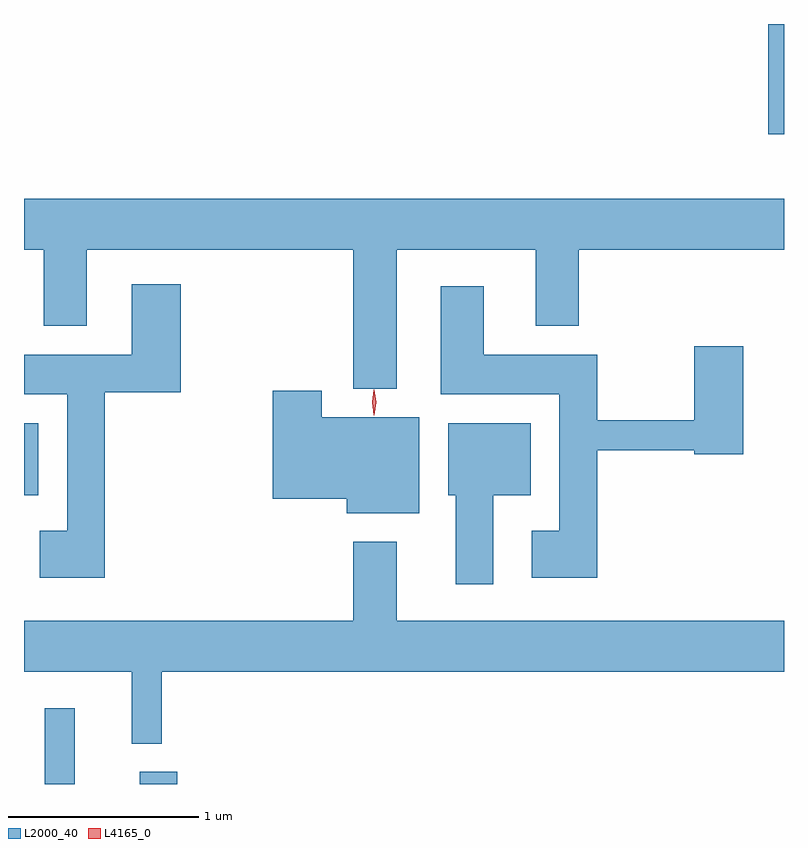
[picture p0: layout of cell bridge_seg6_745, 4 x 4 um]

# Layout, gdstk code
import gdstk
lib = gdstk.Library(unit=1e-6, precision=1e-09)
def R(c, l, rs):  # rectangles x0, y0, x1, y1
    for r in rs: c.add(gdstk.rectangle(r[:2], r[2:], *l))
def P(c, l, *ps):  # polygons
    for p in ps: c.add(gdstk.Polygon(p, *l))
L2000_40 = (2000, 40)
L4165_0 = (4165, 0)

bridge_seg6_745 = lib.new_cell('bridge_seg6_745')
R(bridge_seg6_745, L2000_40, [(481.206,1591.625,481.364,1592.023), (481.706,1591.625,481.904,1591.689), (481.098,1593.146,481.174,1593.524), (485.016,1595.046,485.098,1595.625)])
P(bridge_seg6_745, L2000_40, [(483.059,1594.436),(483.791,1594.436),(483.791,1594.036),(484.019,1594.036),(484.019,1594.436),(485.098,1594.436),(485.098,1594.704),(481.098,1594.704),(481.098,1594.436),(481.201,1594.436),(481.201,1594.036),(481.429,1594.036),(481.429,1594.436),(482.831,1594.436),(482.831,1593.706),(483.059,1593.706)],
  [(481.524,1593.686),(481.924,1593.686),(481.924,1594.254),(481.666,1594.254),(481.666,1593.884),(481.098,1593.884),(481.098,1593.676),(481.326,1593.676),(481.326,1592.959),(481.181,1592.959),(481.181,1592.711),(481.524,1592.711)],
  [(484.114,1593.381),(484.626,1593.381),(484.626,1593.361),(484.884,1593.361),(484.884,1593.929),(484.626,1593.929),(484.626,1593.539),(484.114,1593.539),(484.114,1593.884),(483.519,1593.884),(483.519,1594.244),(483.291,1594.244),(483.291,1593.676),(483.916,1593.676),(483.916,1592.959),(483.771,1592.959),(483.771,1592.711),(484.114,1592.711)],
  [(483.179,1593.554),(482.664,1593.554),(482.664,1593.694),(482.406,1593.694),(482.406,1593.126),(482.796,1593.126),(482.796,1593.051),(483.179,1593.051)],
  [(483.569,1593.146),(483.764,1593.146),(483.764,1593.524),(483.331,1593.524),(483.331,1593.146),(483.371,1593.146),(483.371,1592.676),(483.569,1592.676)],
  [(481.824,1592.216),(485.098,1592.216),(485.098,1592.484),(483.059,1592.484),(483.059,1592.899),(482.831,1592.899),(482.831,1592.484),(481.098,1592.484),(481.098,1592.216),(481.666,1592.216),(481.666,1591.838),(481.824,1591.838)])
P(bridge_seg6_745, L4165_0, [(482.94,1593.566),(482.931,1593.633),(482.94,1593.699),(482.941,1593.699),(482.941,1593.699),(482.951,1593.633),(482.941,1593.566),(482.941,1593.566)])

lib.write_gds('bridge_seg6_745.gds')
